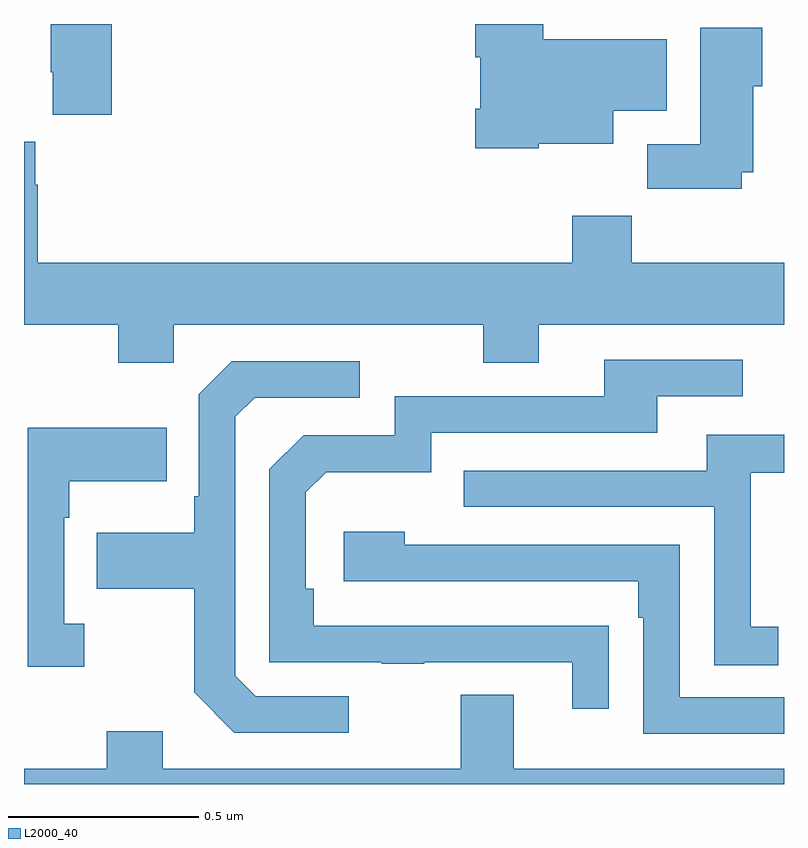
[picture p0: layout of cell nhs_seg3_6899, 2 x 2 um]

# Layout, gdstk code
import gdstk
lib = gdstk.Library(unit=1e-6, precision=1e-09)
def P(c, l, *ps):  # polygons
    for p in ps: c.add(gdstk.Polygon(p, *l))
L2000_40 = (2000, 40)

nhs_seg3_6899 = lib.new_cell('nhs_seg3_6899')
P(nhs_seg3_6899, L2000_40, [(197.231,676.4),(197.071,676.4),(197.071,676.273),(197.075,676.273),(197.075,676.161),(197.231,676.161)],
  [(198.354,676.085),(198.55,676.085),(198.55,676.172),(198.691,676.172),(198.691,676.36),(198.366,676.36),(198.366,676.4),(198.188,676.4),(198.188,676.313),(198.2,676.313),(198.2,676.177),(198.188,676.177),(198.188,676.073),(198.354,676.073)],
  [(198.889,676.01),(198.919,676.01),(198.919,676.236),(198.943,676.236),(198.943,676.39),(198.779,676.39),(198.779,676.084),(198.64,676.084),(198.64,675.966),(198.889,675.966)],
  [(197.036,675.977),(197.029,675.977),(197.029,676.09),(197,676.09),(197,675.608),(197.248,675.608),(197.248,675.509),(197.394,675.509),(197.394,675.608),(198.208,675.608),(198.208,675.509),(198.355,675.509),(198.355,675.608),(199,675.608),(199,675.772),(198.599,675.772),(198.599,675.896),(198.443,675.896),(198.443,675.772),(197.036,675.772)],
  [(198.539,674.816),(198.437,674.816),(198.437,674.817),(197.762,674.817),(197.762,674.914),(197.742,674.914),(197.742,675.168),(197.795,675.221),(198.072,675.221),(198.072,675.324),(198.667,675.324),(198.667,675.42),(198.892,675.42),(198.892,675.516),(198.527,675.516),(198.527,675.42),(197.976,675.42),(197.976,675.318),(197.736,675.318),(197.646,675.228),(197.646,674.721),(197.941,674.721),(197.941,674.716),(198.053,674.716),(198.053,674.721),(198.443,674.721),(198.443,674.598),(198.539,674.598)],
  [(197.854,674.631),(197.61,674.631),(197.556,674.685),(197.556,675.366),(197.607,675.417),(197.884,675.417),(197.884,675.513),(197.547,675.513),(197.46,675.426),(197.46,675.157),(197.448,675.157),(197.448,675.061),(197.191,675.061),(197.191,674.914),(197.448,674.914),(197.448,674.641),(197.553,674.535),(197.854,674.535)],
  [(197.158,674.822),(197.106,674.822),(197.106,675.101),(197.119,675.101),(197.119,675.197),(197.375,675.197),(197.375,675.337),(197.01,675.337),(197.01,674.709),(197.158,674.709)],
  [(198.985,674.814),(198.912,674.814),(198.912,675.219),(199,675.219),(199,675.319),(198.797,675.319),(198.797,675.225),(198.157,675.225),(198.157,675.129),(198.816,675.129),(198.816,674.713),(198.985,674.713)],
  [(199,674.628),(198.726,674.628),(198.726,675.03),(198.002,675.03),(198.002,675.064),(197.841,675.064),(197.841,674.934),(198.617,674.934),(198.617,674.837),(198.63,674.837),(198.63,674.532),(199,674.532)],
  [(199,674.44),(198.289,674.44),(198.289,674.635),(198.149,674.635),(198.149,674.44),(197.365,674.44),(197.365,674.539),(197.218,674.539),(197.218,674.44),(197,674.44),(197,674.4),(199,674.4)])

lib.write_gds('nhs_seg3_6899.gds')
